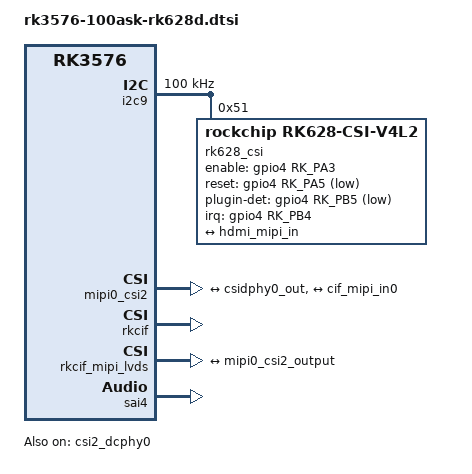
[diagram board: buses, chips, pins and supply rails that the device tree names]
/ {

	rk628f_dc: rk628f-dc {
			compatible = "rockchip,dummy-codec";
			#sound-dai-cells = <0>;
			/*status = "okay";*/
	};

	rkvtunnel: rkvtunnel {
			compatible = "rockchip,video-tunnel";
			status = "okay";
	};

	hdmiin-sound {
			compatible = "simple-audio-card";
			simple-audio-card,format = "i2s";
			simple-audio-card,name = "rockchip,hdmiin";
			simple-audio-card,bitclock-master = <&dailink0_master>;
			simple-audio-card,frame-master = <&dailink0_master>;
			status = "okay";
			simple-audio-card,cpu {
					sound-dai = <&sai4>;
			};
			dailink0_master: simple-audio-card,codec {
					sound-dai = <&rk628f_dc>;
			};
	};

};

&csi2_dcphy0 {
	status = "okay";

	ports {
		#address-cells = <1>;
		#size-cells = <0>;
		port@0 {
			reg = <0>;
			#address-cells = <1>;
			#size-cells = <0>;

			hdmi_mipi_in: endpoint@1 {
				reg = <1>;
				remote-endpoint = <&hdmiin_out>;
				data-lanes = <1 2 3 4>;
			};
		};
		port@1 {
			reg = <1>;
			#address-cells = <1>;
			#size-cells = <0>;

			csidphy0_out: endpoint@0 {
				reg = <0>;
				remote-endpoint = <&mipi0_csi2_input>;
			};
		};
	};
};

&i2c9 {
	clock-frequency = <100000>;
	status = "okay";
	pinctrl-names = "default";
	pinctrl-0 = <&i2c9m1_xfer>;
        
	rk628_csi: rk628_csi@51 {
		compatible = "rockchip,rk628-csi-v4l2";
		status = "okay";
		reg = <0x51>;
		i2s-enable-default;
		power-domains = <&power RK3576_PD_VI>;
		interrupt-parent = <&gpio4>;
		interrupts = <RK_PB4 IRQ_TYPE_LEVEL_HIGH>;
		enable-gpios = <&gpio4 RK_PA3 GPIO_ACTIVE_HIGH>;
		reset-gpios = <&gpio4 RK_PA5 GPIO_ACTIVE_LOW>;
		plugin-det-gpios = <&gpio4 RK_PB5 GPIO_ACTIVE_LOW>;
		continues-clk = <1>;
		cec-enable;
		/*#sound-dai-cells = <0>;*/
		
		pinctrl-names = "default";
		pinctrl-0 = <&rk628_pin &ref_clk2_clk2>;
		assigned-clocks = <&cru REF_CLK2_OUT_PLL>;
		assigned-clock-rates = <24000000>;
		clocks = <&cru REF_CLK2_OUT_PLL>;
		clock-names = "soc_24M";
		
		rockchip,camera-module-index = <0>;
		rockchip,camera-module-facing = "back";
		rockchip,camera-module-name = "HDMI-MIPI1";
		rockchip,camera-module-lens-name = "RK628-CSI";
		
		port {
			hdmiin_out: endpoint {
				remote-endpoint = <&hdmi_mipi_in>;
				data-lanes = <1 2 3 4>;
			};
		};
    };
};

&mipi0_csi2 {
	status = "okay";

	ports {
		#address-cells = <1>;
		#size-cells = <0>;

		port@0 {
			reg = <0>;
			#address-cells = <1>;
			#size-cells = <0>;

			mipi0_csi2_input: endpoint@1 {
				reg = <1>;
				remote-endpoint = <&csidphy0_out>;
			};
		};

		port@1 {
			reg = <1>;
			#address-cells = <1>;
			#size-cells = <0>;

			mipi0_csi2_output: endpoint@0 {
				reg = <0>;
				remote-endpoint = <&cif_mipi_in0>;
			};
		};
	};
};

&rkcif {
	status = "okay";
};

&rkcif_mipi_lvds {
	status = "okay";

	port {
		cif_mipi_in0: endpoint {
			remote-endpoint = <&mipi0_csi2_output>;
		};
	};
};

&rkcif_mmu {
	status = "okay";
};

&sai4 {
	pinctrl-0 = <&sai4m0_lrck
		      &sai4m0_sclk
		      &sai4m0_sdi>;
	/*rockchip,sai-rx-wait-time-ms = <50>;*/
	status = "okay";
};

&pinctrl {
	hdmiin {
		rk628_pin: rk628-pin {
			rockchip,pins = <4 RK_PB4 RK_FUNC_GPIO &pcfg_pull_none>,
					<4 RK_PA3 RK_FUNC_GPIO &pcfg_pull_none>,
					<4 RK_PA5 RK_FUNC_GPIO &pcfg_pull_none>,
					<4 RK_PB5 RK_FUNC_GPIO &pcfg_pull_none>;
		};
	};
};
